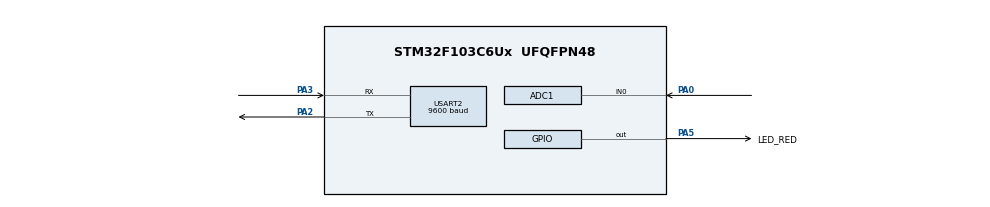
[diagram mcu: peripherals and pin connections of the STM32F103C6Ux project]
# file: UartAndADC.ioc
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ADC1.Channel-0\#ChannelRegularConversion=ADC_CHANNEL_0
ADC1.ContinuousConvMode=ENABLE
ADC1.NbrOfConversionFlag=1
ADC1.Rank-0\#ChannelRegularConversion=1
ADC1.SamplingTime-0\#ChannelRegularConversion=ADC_SAMPLETIME_1CYCLE_5
ADC1.master=1
Mcu.Family=STM32F1
Mcu.Name=STM32F103C6Ux
Mcu.Package=UFQFPN48
NVIC.PriorityGroup=NVIC_PRIORITYGROUP_4
NVIC.TIM2_IRQn=true\:0\:0\:false\:false\:true\:true\:true
NVIC.USART2_IRQn=true\:0\:0\:false\:false\:true\:true\:true
PA0-WKUP.Signal=ADCx_IN0
PA13.Mode=Serial_Wire
PA13.Signal=SYS_JTMS-SWDIO
PA14.Mode=Serial_Wire
PA14.Signal=SYS_JTCK-SWCLK
PA2.Mode=Asynchronous
PA2.Signal=USART2_TX
PA3.Mode=Asynchronous
PA3.Signal=USART2_RX
PA5.GPIO_Label=LED_RED
PA5.Signal=GPIO_Output
ProjectManager.HeapSize=0x200
ProjectManager.StackSize=0x400
ProjectManager.TargetToolchain=STM32CubeIDE
RCC.APB1Freq_Value=8000000
RCC.APB2Freq_Value=8000000
SH.ADCx_IN0.0=ADC1_IN0,IN0
TIM2.Period=9
TIM2.Prescaler=7999
USART2.BaudRate=9600
USART2.VirtualMode=VM_ASYNC
VP_TIM2_VS_ClockSourceINT.Mode=Internal
board=custom

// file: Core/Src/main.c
/* USER CODE BEGIN Header */
/**
  ******************************************************************************
  * @file           : main.c
  * @brief          : Main program body
  ******************************************************************************
  * @attention
  *
  * <h2><center>&copy; Copyright (c) 2022 STMicroelectronics.
  * All rights reserved.</center></h2>
  *
  * This software component is licensed by ST under BSD 3-Clause license,
  * the "License"; You may not use this file except in compliance with the
  * License. You may obtain a copy of the License at:
  *                        opensource.org/licenses/BSD-3-Clause
  *
  ******************************************************************************
  */
/* USER CODE END Header */
#include <cmd_parser.h>
#include "main.h"

/* USER CODE BEGIN Includes */
#include "global.h"
#include "uart_communication.h"
/* USER CODE END Includes */

ADC_HandleTypeDef hadc1;

TIM_HandleTypeDef htim2;

UART_HandleTypeDef huart2;

void SystemClock_Config(void);
static void MX_GPIO_Init(void);
static void MX_ADC1_Init(void);
static void MX_TIM2_Init(void);
static void MX_USART2_UART_Init(void);

int main(void)
{

  /* MCU Configuration--------------------------------------------------------*/

  /* Reset of all peripherals, Initializes the Flash interface and the Systick. */
  HAL_Init();

  /* Configure the system clock */
  SystemClock_Config();

  /* Initialize all configured peripherals */
  MX_GPIO_Init();
  MX_ADC1_Init();
  MX_TIM2_Init();
  MX_USART2_UART_Init();
  /* USER CODE BEGIN 2 */
  uart_status = WAIT_FOR_SENDING;
  cmd_status = WAIT_FOR_BEGIN_CMD;
  HAL_ADC_Start(&hadc1);
  HAL_UART_Receive_IT(&huart2, (void*)&temp, 1);
  HAL_TIM_Base_Start_IT(&htim2);
  /* USER CODE END 2 */

  /* Infinite loop */
  /* USER CODE BEGIN WHILE */
  while (1)
  {
	  if(buffer_flag == 1){
		  command_parser_fsm();
		  buffer_flag = 0;
	  }
	  uart_communication_fsm();
    /* USER CODE END WHILE */

  }
}

void SystemClock_Config(void)
{
  RCC_OscInitTypeDef RCC_OscInitStruct = {0};
  RCC_ClkInitTypeDef RCC_ClkInitStruct = {0};
  RCC_PeriphCLKInitTypeDef PeriphClkInit = {0};

  /** Initializes the RCC Oscillators according to the specified parameters
  * in the RCC_OscInitTypeDef structure.
  */
  RCC_OscInitStruct.OscillatorType = RCC_OSCILLATORTYPE_HSI;
  RCC_OscInitStruct.HSIState = RCC_HSI_ON;
  RCC_OscInitStruct.HSICalibrationValue = RCC_HSICALIBRATION_DEFAULT;
  RCC_OscInitStruct.PLL.PLLState = RCC_PLL_NONE;
  if (HAL_RCC_OscConfig(&RCC_OscInitStruct) != HAL_OK)
  {
    Error_Handler();
  }
  /** Initializes the CPU, AHB and APB buses clocks
  */
  RCC_ClkInitStruct.ClockType = RCC_CLOCKTYPE_HCLK|RCC_CLOCKTYPE_SYSCLK
                              |RCC_CLOCKTYPE_PCLK1|RCC_CLOCKTYPE_PCLK2;
  RCC_ClkInitStruct.SYSCLKSource = RCC_SYSCLKSOURCE_HSI;
  RCC_ClkInitStruct.AHBCLKDivider = RCC_SYSCLK_DIV1;
  RCC_ClkInitStruct.APB1CLKDivider = RCC_HCLK_DIV1;
  RCC_ClkInitStruct.APB2CLKDivider = RCC_HCLK_DIV1;

  if (HAL_RCC_ClockConfig(&RCC_ClkInitStruct, FLASH_LATENCY_0) != HAL_OK)
  {
    Error_Handler();
  }
  PeriphClkInit.PeriphClockSelection = RCC_PERIPHCLK_ADC;
  PeriphClkInit.AdcClockSelection = RCC_ADCPCLK2_DIV2;
  if (HAL_RCCEx_PeriphCLKConfig(&PeriphClkInit) != HAL_OK)
  {
    Error_Handler();
  }
}

static void MX_ADC1_Init(void)
{

  ADC_ChannelConfTypeDef sConfig = {0};

  /** Common config
  */
  hadc1.Instance = ADC1;
  hadc1.Init.ScanConvMode = ADC_SCAN_DISABLE;
  hadc1.Init.ContinuousConvMode = ENABLE;
  hadc1.Init.DiscontinuousConvMode = DISABLE;
  hadc1.Init.ExternalTrigConv = ADC_SOFTWARE_START;
  hadc1.Init.DataAlign = ADC_DATAALIGN_RIGHT;
  hadc1.Init.NbrOfConversion = 1;
  if (HAL_ADC_Init(&hadc1) != HAL_OK)
  {
    Error_Handler();
  }
  /** Configure Regular Channel
  */
  sConfig.Channel = ADC_CHANNEL_0;
  sConfig.Rank = ADC_REGULAR_RANK_1;
  sConfig.SamplingTime = ADC_SAMPLETIME_1CYCLE_5;
  if (HAL_ADC_ConfigChannel(&hadc1, &sConfig) != HAL_OK)
  {
    Error_Handler();
  }

}

static void MX_TIM2_Init(void)
{

  TIM_ClockConfigTypeDef sClockSourceConfig = {0};
  TIM_MasterConfigTypeDef sMasterConfig = {0};

  htim2.Instance = TIM2;
  htim2.Init.Prescaler = 7999;
  htim2.Init.CounterMode = TIM_COUNTERMODE_UP;
  htim2.Init.Period = 9;
  htim2.Init.ClockDivision = TIM_CLOCKDIVISION_DIV1;
  htim2.Init.AutoReloadPreload = TIM_AUTORELOAD_PRELOAD_DISABLE;
  if (HAL_TIM_Base_Init(&htim2) != HAL_OK)
  {
    Error_Handler();
  }
  sClockSourceConfig.ClockSource = TIM_CLOCKSOURCE_INTERNAL;
  if (HAL_TIM_ConfigClockSource(&htim2, &sClockSourceConfig) != HAL_OK)
  {
    Error_Handler();
  }
  sMasterConfig.MasterOutputTrigger = TIM_TRGO_RESET;
  sMasterConfig.MasterSlaveMode = TIM_MASTERSLAVEMODE_DISABLE;
  if (HAL_TIMEx_MasterConfigSynchronization(&htim2, &sMasterConfig) != HAL_OK)
  {
    Error_Handler();
  }

}

static void MX_USART2_UART_Init(void)
{

  huart2.Instance = USART2;
  huart2.Init.BaudRate = 9600;
  huart2.Init.WordLength = UART_WORDLENGTH_8B;
  huart2.Init.StopBits = UART_STOPBITS_1;
  huart2.Init.Parity = UART_PARITY_NONE;
  huart2.Init.Mode = UART_MODE_TX_RX;
  huart2.Init.HwFlowCtl = UART_HWCONTROL_NONE;
  huart2.Init.OverSampling = UART_OVERSAMPLING_16;
  if (HAL_UART_Init(&huart2) != HAL_OK)
  {
    Error_Handler();
  }

}

static void MX_GPIO_Init(void)
{
  GPIO_InitTypeDef GPIO_InitStruct = {0};

  /* GPIO Ports Clock Enable */
  __HAL_RCC_GPIOA_CLK_ENABLE();

  /*Configure GPIO pin Output Level */
  HAL_GPIO_WritePin(LED_RED_GPIO_Port, LED_RED_Pin, GPIO_PIN_RESET);

  /*Configure GPIO pin : LED_RED_Pin */
  GPIO_InitStruct.Pin = LED_RED_Pin;
  GPIO_InitStruct.Mode = GPIO_MODE_OUTPUT_PP;
  GPIO_InitStruct.Pull = GPIO_NOPULL;
  GPIO_InitStruct.Speed = GPIO_SPEED_FREQ_LOW;
  HAL_GPIO_Init(LED_RED_GPIO_Port, &GPIO_InitStruct);

}

/* USER CODE BEGIN 4 */
void HAL_UART_RxCpltCallback(UART_HandleTypeDef *huart){
	if(huart->Instance == USART2){
		HAL_UART_Transmit(&huart2, (void*)&temp,1, 50);
		buffer_flag = 1;
		HAL_UART_Receive_IT(&huart2, (void*)&temp, 1);

	}
}
/* USER CODE END 4 */

void Error_Handler(void)
{
  __disable_irq();
  while (1)
  {
  }
}

/************************ (C) COPYRIGHT STMicroelectronics *****END OF FILE****/
